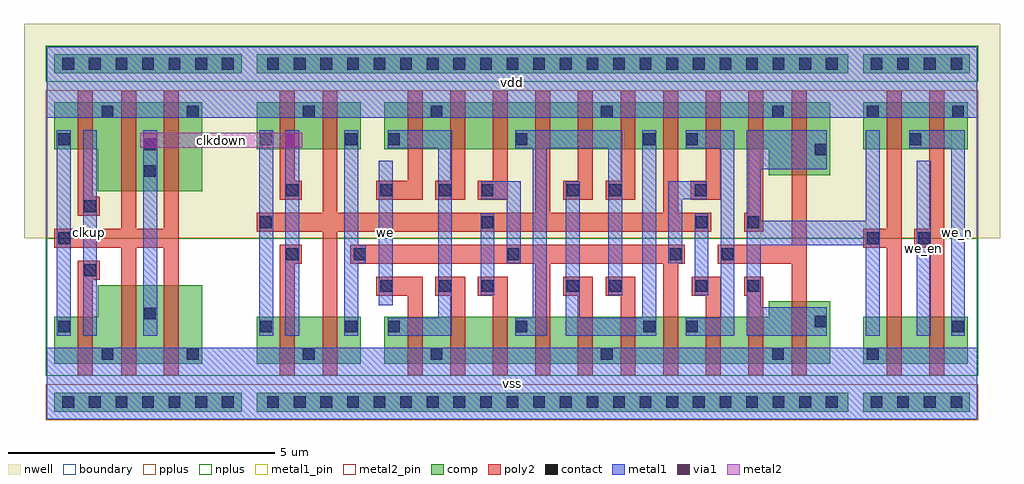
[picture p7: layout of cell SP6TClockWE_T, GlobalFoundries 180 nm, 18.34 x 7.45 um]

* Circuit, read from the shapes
.subckt SP6TClockWE_T clkdown clkup vdd vss we we_en we_n
XM1 vss clkup n1 vss nfet_03v3 w=0.88u l=0.28u
XM2 clkdown n1 vss vss nfet_03v3 w=1.475u l=0.28u m=2
XM3 vss clkdown n2 vss nfet_03v3 w=0.88u l=0.28u
XM4 n3 n2 vss vss nfet_03v3 w=0.88u l=0.28u
XM5 vss we n4 vss nfet_03v3 w=0.88u l=0.28u
XM6 n5 n4 vss vss nfet_03v3 w=0.88u l=0.28u
XM7 n6 n2 n5 vss nfet_03v3 w=0.88u l=0.28u
XM8 n7 n3 n6 vss nfet_03v3 w=0.88u l=0.28u
XM9 vss n8 n7 vss nfet_03v3 w=0.88u l=0.28u
XM10 n8 n6 vss vss nfet_03v3 w=0.88u l=0.28u
XM11 n9 n3 n8 vss nfet_03v3 w=0.88u l=0.28u
XM12 n10 n2 n9 vss nfet_03v3 w=0.88u l=0.28u
XM13 vss nand2_x0_2/i0 n10 vss nfet_03v3 w=0.88u l=0.28u
XM14 nand2_x0_2/i0 n9 vss vss nfet_03v3 w=1.175u l=0.28u
XM15 n11 nand2_x0_2/i0 vss vss nfet_03v3 w=0.88u l=0.28u
XM16 we_n we_en n11 vss nfet_03v3 w=0.88u l=0.28u
XM17 vdd clkup n1 vdd pfet_03v3 w=0.88u l=0.28u
XM18 clkdown n1 vdd vdd pfet_03v3 w=1.675u l=0.28u m=2
XM19 vdd clkdown n2 vdd pfet_03v3 w=0.88u l=0.28u
XM20 n3 n2 vdd vdd pfet_03v3 w=0.88u l=0.28u
XM21 vdd we n4 vdd pfet_03v3 w=0.88u l=0.28u
XM22 n12 n4 vdd vdd pfet_03v3 w=0.88u l=0.28u
XM23 n6 n3 n12 vdd pfet_03v3 w=0.88u l=0.28u
XM24 n13 n2 n6 vdd pfet_03v3 w=0.88u l=0.28u
XM25 vdd n8 n13 vdd pfet_03v3 w=0.88u l=0.28u
XM26 n8 n6 vdd vdd pfet_03v3 w=0.88u l=0.28u
XM27 n9 n2 n8 vdd pfet_03v3 w=0.88u l=0.28u
XM28 n14 n3 n9 vdd pfet_03v3 w=0.88u l=0.28u
XM29 vdd nand2_x0_2/i0 n14 vdd pfet_03v3 w=0.88u l=0.28u
XM30 nand2_x0_2/i0 n9 vdd vdd pfet_03v3 w=1.375u l=0.28u
XM31 we_n nand2_x0_2/i0 vdd vdd pfet_03v3 w=0.88u l=0.28u
XM32 vdd we_en we_n vdd pfet_03v3 w=0.88u l=0.28u
.ends

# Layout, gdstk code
import gdstk
lib = gdstk.Library(unit=1e-6, precision=1e-09)
def R(c, l, rs):  # rectangles x0, y0, x1, y1
    for r in rs: c.add(gdstk.rectangle(r[:2], r[2:], *l))
def A(c, l, x, y, w, h, nx, ny, dx, dy):  # array of equal rectangles
    R(c, l, [(x+i*dx, y+j*dy, x+i*dx+w, y+j*dy+h) for i in range(nx) for j in range(ny)])
def P(c, l, *ps):  # polygons
    for p in ps: c.add(gdstk.Polygon(p, *l))
boundary = (0, 0)
nwell = (21, 0)
comp = (22, 0)
poly2 = (30, 0)
pplus = (31, 0)
nplus = (32, 0)
contact = (33, 0)
metal1 = (34, 0)
metal1_pin = (34, 10)
via1 = (35, 0)
metal2 = (36, 0)
metal2_pin = (36, 10)

buf_x2 = lib.new_cell('buf_x2')
R(buf_x2, nwell, [(-0.43,3.4,4.23,7.43)])
R(buf_x2, comp, [(0.14,0.14,3.66,0.5), (0.14,6.5,3.66,6.86)])
P(buf_x2, comp, [(0.96,4.28),(0.96,5.075),(0.14,5.075),(0.14,5.955),(2.92,5.955),(2.92,4.28)],
  [(0.14,1.045),(0.14,1.925),(0.96,1.925),(0.96,2.52),(2.92,2.52),(2.92,1.045)])
P(buf_x2, poly2, [(1.4,0.825),(1.4,3.22),(0.14,3.22),(0.14,3.58),(1.4,3.58),(1.4,6.175),(1.68,6.175),(1.68,3.58),(2.2,3.58),(2.2,6.175),(2.48,6.175),(2.48,0.825),(2.2,0.825),(2.2,3.22),(1.68,3.22),(1.68,0.825)],
  [(0.58,0.825),(0.58,2.98),(0.99,2.98),(0.99,2.62),(0.86,2.62),(0.86,0.825)],
  [(0.58,3.82),(0.58,6.175),(0.86,6.175),(0.86,4.18),(0.99,4.18),(0.99,3.82)])
R(buf_x2, pplus, [(-0.02,-0.02,3.82,0.66), (-0.02,3.4,3.82,6.185)])
R(buf_x2, nplus, [(-0.02,0.815,3.82,3.4), (-0.02,6.34,3.82,7.02)])
A(buf_x2, contact, 0.29, 0.21, 0.22, 0.22, 7, 2, 0.5, 6.36)
R(buf_x2, contact, [(1.03,1.115,1.25,1.335), (2.63,1.115,2.85,1.335), (0.21,1.63,0.43,1.85), (1.83,1.875,2.05,2.095), (0.7,2.69,0.92,2.91), (0.21,3.29,0.43,3.51), (0.7,3.89,0.92,4.11), (1.83,4.555,2.05,4.775), (1.83,5.055,2.05,5.275), (0.21,5.15,0.43,5.37), (1.03,5.665,1.25,5.885), (2.63,5.665,2.85,5.885)])
R(buf_x2, metal1, [(0,0,3.8,1.34), (0.19,1.57,0.45,5.43), (0.68,1.57,0.94,5.43), (1.81,1.57,2.07,5.43), (0,5.66,3.8,7)])
R(buf_x2, metal1_pin, [(0,0,3.8,1.34), (0.68,1.57,0.94,5.43), (1.81,1.57,2.07,5.43), (0,5.66,3.8,7)])
buf_x2.add(gdstk.Label('vdd', (1.9,6.33), layer=34, texttype=10))
buf_x2.add(gdstk.Label('vss', (1.9,0.67), layer=34, texttype=10))
buf_x2.add(gdstk.Label('i', (0.81,3.5), layer=34, texttype=10))
buf_x2.add(gdstk.Label('q', (1.94,3.5), layer=34, texttype=10))

dff_x1 = lib.new_cell('dff_x1')
R(dff_x1, nwell, [(-0.43,3.4,11.83,7.43)])
R(dff_x1, comp, [(0.14,0.14,11.26,0.5), (0.14,1.045,2.1,1.925), (0.14,5.075,2.1,5.955), (0.14,6.5,11.26,6.86)])
P(dff_x1, comp, [(9.76,4.58),(9.76,5.075),(2.54,5.075),(2.54,5.955),(10.92,5.955),(10.92,4.58)],
  [(2.54,1.045),(2.54,1.925),(9.76,1.925),(9.76,2.22),(10.92,2.22),(10.92,1.045)])
P(dff_x1, poly2, [(4.58,0.825),(4.58,2.32),(4.3,2.32),(4.3,2.68),(4.86,2.68),(4.86,0.825)],
  [(8.58,0.825),(8.58,2.32),(8.32,2.32),(8.32,2.68),(8.86,2.68),(8.86,0.825)],
  [(1.38,0.825),(1.38,3.52),(0.14,3.52),(0.14,3.88),(1.38,3.88),(1.38,6.175),(1.66,6.175),(1.66,3.88),(5.38,3.88),(5.38,6.175),(5.66,6.175),(5.66,3.88),(7.78,3.88),(7.78,6.175),(8.06,6.175),(8.06,3.88),(8.68,3.88),(8.68,3.52),(1.66,3.52),(1.66,0.825)],
  [(0.58,0.825),(0.58,3.28),(0.99,3.28),(0.99,2.92),(0.86,2.92),(0.86,0.825)],
  [(0.58,4.12),(0.58,6.175),(0.86,6.175),(0.86,4.48),(0.99,4.48),(0.99,4.12)],
  [(4.3,4.12),(4.3,4.48),(4.58,4.48),(4.58,6.175),(4.86,6.175),(4.86,4.12)],
  [(5.38,0.825),(5.38,2.92),(1.9,2.92),(1.9,3.28),(8.19,3.28),(8.19,2.92),(8.06,2.92),(8.06,0.825),(7.78,0.825),(7.78,2.92),(5.66,2.92),(5.66,0.825)],
  [(8.3,4.12),(8.3,4.48),(8.58,4.48),(8.58,6.175),(8.86,6.175),(8.86,4.12)],
  [(3.5,4.12),(3.5,4.48),(3.78,4.48),(3.78,6.175),(4.06,6.175),(4.06,4.12)],
  [(3.78,0.825),(3.78,2.32),(3.5,2.32),(3.5,2.68),(4.06,2.68),(4.06,0.825)],
  [(2.98,0.825),(2.98,2.32),(2.39,2.32),(2.39,2.68),(3.26,2.68),(3.26,0.825)],
  [(2.39,4.12),(2.39,4.48),(2.98,4.48),(2.98,6.175),(3.26,6.175),(3.26,4.12)],
  [(6.98,0.825),(6.98,2.32),(6.7,2.32),(6.7,2.68),(7.26,2.68),(7.26,0.825)],
  [(6.7,4.12),(6.7,4.48),(6.98,4.48),(6.98,6.175),(7.26,6.175),(7.26,4.12)],
  [(5.9,4.12),(5.9,4.48),(6.18,4.48),(6.18,6.175),(6.46,6.175),(6.46,4.12)],
  [(6.18,0.825),(6.18,2.32),(5.9,2.32),(5.9,2.68),(6.46,2.68),(6.46,0.825)],
  [(10.2,0.825),(10.2,2.92),(8.81,2.92),(8.81,3.28),(10.2,3.28),(10.2,6.175),(10.48,6.175),(10.48,0.825)],
  [(9.3,3.52),(9.3,3.88),(9.38,3.88),(9.38,6.175),(9.66,6.175),(9.66,3.52)],
  [(9.38,0.825),(9.38,2.32),(9.3,2.32),(9.3,2.68),(9.66,2.68),(9.66,0.825)])
R(dff_x1, pplus, [(-0.02,-0.02,11.42,0.66), (-0.02,3.4,11.42,6.185)])
R(dff_x1, nplus, [(-0.02,0.815,11.42,3.4), (-0.02,6.34,11.42,7.02)])
A(dff_x1, contact, 0.34, 0.21, 0.22, 0.22, 22, 2, 0.5, 6.36)
A(dff_x1, contact, 2.61, 1.63, 0.22, 0.22, 3, 2, 2.4, 3.52)
R(dff_x1, contact, [(1.01,1.115,1.23,1.335), (3.41,1.115,3.63,1.335), (6.61,1.115,6.83,1.335), (9.83,1.115,10.05,1.335), (0.21,1.63,0.43,1.85), (1.81,1.63,2.03,1.85), (8.21,1.63,8.43,1.85), (10.63,1.725,10.85,1.945), (2.46,2.39,2.68,2.61), (3.57,2.39,3.79,2.61), (4.37,2.39,4.59,2.61), (5.97,2.39,6.19,2.61), (6.77,2.39,6.99,2.61), (8.39,2.39,8.61,2.61), (9.37,2.39,9.59,2.61), (0.7,2.99,0.92,3.21), (1.97,2.99,2.19,3.21), (4.86,2.99,5.08,3.21), (7.9,2.99,8.12,3.21), (8.88,2.99,9.1,3.21), (0.21,3.59,0.43,3.81), (4.37,3.59,4.59,3.81), (8.39,3.59,8.61,3.81), (9.37,3.59,9.59,3.81), (0.7,4.19,0.92,4.41), (2.46,4.19,2.68,4.41), (3.57,4.19,3.79,4.41), (4.37,4.19,4.59,4.41), (5.97,4.19,6.19,4.41), (6.77,4.19,6.99,4.41), (8.37,4.19,8.59,4.41), (10.63,4.955,10.85,5.175), (0.21,5.15,0.43,5.37), (1.81,5.15,2.03,5.37), (8.21,5.15,8.43,5.37), (1.01,5.665,1.23,5.885), (3.41,5.665,3.63,5.885), (6.61,5.665,6.83,5.885), (9.83,5.665,10.05,5.885)])
R(dff_x1, metal1, [(0,0,11.4,1.34), (0.19,1.57,0.45,5.43), (0.68,1.57,0.94,5.43), (2.44,2.14,2.7,4.86), (4.35,2.33,4.61,3.87), (8.37,2.33,8.63,3.87), (0,5.66,11.4,7)])
P(dff_x1, metal1, [(7.88,2.93),(7.88,4.47),(8.595,4.47),(8.595,4.13),(8.14,4.13),(8.14,2.93)],
  [(1.79,1.57),(1.79,5.43),(2.05,5.43),(2.05,3.27),(2.195,3.27),(2.195,2.93),(2.05,2.93),(2.05,1.57)],
  [(4.84,2.93),(4.84,4.13),(4.365,4.13),(4.365,4.47),(5.1,4.47),(5.1,2.93)],
  [(2.605,1.57),(2.605,1.91),(3.55,1.91),(3.55,5.09),(2.605,5.09),(2.605,5.43),(3.81,5.43),(3.81,1.57)],
  [(5.005,1.57),(5.005,1.91),(5.33,1.91),(5.33,5.09),(5.005,5.09),(5.005,5.43),(7.01,5.43),(7.01,2.33),(6.75,2.33),(6.75,5.09),(5.59,5.09),(5.59,1.57)],
  [(5.95,1.57),(5.95,4.47),(6.21,4.47),(6.21,1.91),(7.39,1.91),(7.39,5.43),(7.65,5.43),(7.65,1.57)],
  [(8.205,1.57),(8.205,1.91),(8.86,1.91),(8.86,5.09),(8.205,5.09),(8.205,5.43),(9.12,5.43),(9.12,1.57)],
  [(9.35,1.57),(9.35,5.43),(10.855,5.43),(10.855,4.7),(9.61,4.7),(9.61,2.1),(10.855,2.1),(10.855,1.57)])
R(dff_x1, metal1_pin, [(0,0,11.4,1.34), (0.68,1.57,0.94,5.43), (9.35,1.57,9.61,5.43), (2.44,2.14,2.7,4.86), (0,5.66,11.4,7)])
dff_x1.add(gdstk.Label('vdd', (5.7,6.33), layer=34, texttype=10))
dff_x1.add(gdstk.Label('vss', (5.7,0.67), layer=34, texttype=10))
dff_x1.add(gdstk.Label('clk', (0.81,3.5), layer=34, texttype=10))
dff_x1.add(gdstk.Label('i', (2.57,3.5), layer=34, texttype=10))
dff_x1.add(gdstk.Label('q', (9.48,3.5), layer=34, texttype=10))

nand2_x0 = lib.new_cell('nand2_x0')
R(nand2_x0, nwell, [(-0.43,3.4,2.71,7.43)])
R(nand2_x0, comp, [(0.14,0.14,2.14,0.5), (0.14,1.045,2.1,1.925), (0.14,5.075,2.1,5.955), (0.14,6.5,2.14,6.86)])
P(nand2_x0, poly2, [(0.58,0.825),(0.58,3.22),(0.14,3.22),(0.14,3.58),(0.58,3.58),(0.58,6.175),(0.86,6.175),(0.86,0.825)],
  [(1.38,0.825),(1.38,3.22),(1.1,3.22),(1.1,3.58),(1.38,3.58),(1.38,6.175),(1.66,6.175),(1.66,0.825)])
R(nand2_x0, pplus, [(-0.02,-0.02,2.3,0.66), (-0.02,3.4,2.3,6.185)])
R(nand2_x0, nplus, [(-0.02,0.815,2.3,3.4), (-0.02,6.34,2.3,7.02)])
A(nand2_x0, contact, 0.28, 0.21, 0.22, 0.22, 4, 2, 0.5, 6.36)
R(nand2_x0, contact, [(0.21,1.115,0.43,1.335), (1.81,1.63,2.03,1.85), (0.21,3.29,0.43,3.51), (1.17,3.29,1.39,3.51), (1.01,5.15,1.23,5.37), (0.21,5.665,0.43,5.885), (1.81,5.665,2.03,5.885)])
R(nand2_x0, metal1, [(0,0,2.28,1.34), (0.19,1.57,0.45,5.43), (1.15,1.57,1.41,4.86), (0,5.66,2.28,7)])
P(nand2_x0, metal1, [(1.79,1.57),(1.79,5.09),(1.005,5.09),(1.005,5.43),(2.05,5.43),(2.05,1.57)])
R(nand2_x0, metal1_pin, [(0,0,2.28,1.34), (0.19,1.57,0.45,5.43), (1.15,1.57,1.41,4.86), (1.79,1.57,2.05,5.43), (0,5.66,2.28,7)])
nand2_x0.add(gdstk.Label('vss', (1.14,0.67), layer=34, texttype=10))
nand2_x0.add(gdstk.Label('vdd', (1.14,6.33), layer=34, texttype=10))
nand2_x0.add(gdstk.Label('i0', (0.32,3.5), layer=34, texttype=10))
nand2_x0.add(gdstk.Label('nq', (1.92,3.5), layer=34, texttype=10))
nand2_x0.add(gdstk.Label('i1', (1.28,3.215), layer=34, texttype=10))

sp6tclockwe_t = lib.new_cell('SP6TClockWE_T')
R(sp6tclockwe_t, boundary, [(0,0,17.48,7)])
R(sp6tclockwe_t, metal1, [(0,0,17.48,1.34), (0.68,1.57,0.94,5.43), (16.35,1.57,16.61,4.86), (16.99,1.57,17.25,5.43), (6.24,2.14,6.5,4.86), (13.28,3.27,15.52,3.73), (1.81,5.05,2.07,5.43), (4.48,5.05,4.74,5.43), (0,5.66,17.48,7)])
R(sp6tclockwe_t, metal1_pin, [(0,0,17.48,1.34), (0.68,1.57,0.94,5.43), (16.35,1.57,16.61,4.86), (16.99,1.57,17.25,5.43), (6.24,2.14,6.5,4.86), (0,5.66,17.48,7)])
R(sp6tclockwe_t, via1, [(1.81,5.11,2.07,5.37), (4.48,5.11,4.74,5.37)])
R(sp6tclockwe_t, metal2, [(1.75,5.1,4.8,5.38)])
R(sp6tclockwe_t, metal2_pin, [(1.75,5.1,4.8,5.38)])
sp6tclockwe_t.add(gdstk.Reference(buf_x2, (0,0)))
sp6tclockwe_t.add(gdstk.Reference(dff_x1, (3.8,0)))
sp6tclockwe_t.add(gdstk.Reference(nand2_x0, (15.2,0)))
sp6tclockwe_t.add(gdstk.Label('clkdown', (3.275,5.24), layer=36, texttype=10))
sp6tclockwe_t.add(gdstk.Label('clkup', (0.81,3.5), layer=34, texttype=10))
sp6tclockwe_t.add(gdstk.Label('we', (6.37,3.5), layer=34, texttype=10))
sp6tclockwe_t.add(gdstk.Label('we_en', (16.48,3.215), layer=34, texttype=10))
sp6tclockwe_t.add(gdstk.Label('we_n', (17.12,3.5), layer=34, texttype=10))
sp6tclockwe_t.add(gdstk.Label('vss', (8.74,0.67), layer=34, texttype=10))
sp6tclockwe_t.add(gdstk.Label('vdd', (8.74,6.33), layer=34, texttype=10))

lib.write_gds('SP6TClockWE_T.gds')
